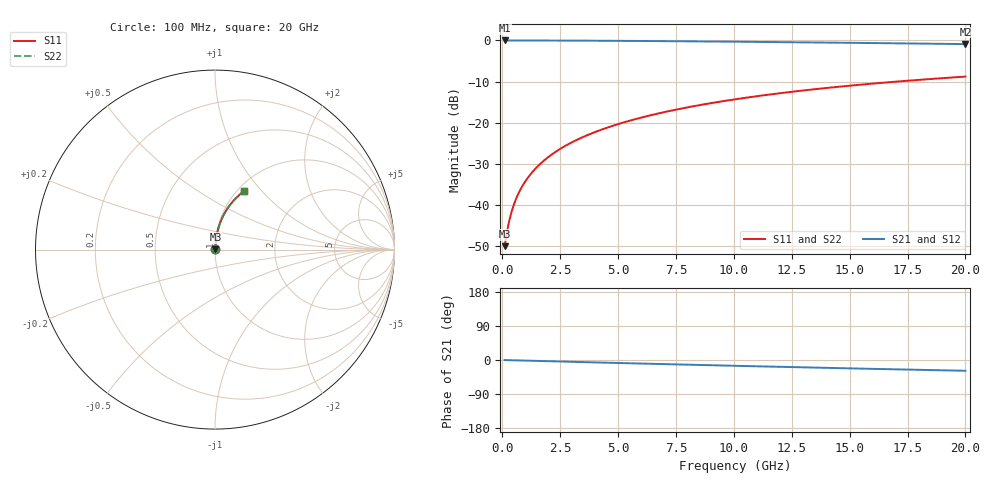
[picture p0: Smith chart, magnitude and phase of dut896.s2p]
! Touchstone file exported from HFSS 2024.1.0
!  File:  C:/UserFiles/LocalFiles/RDL_TSV_Batchsim/temp_RDL_bottom_896_1779866145.aedt
!  Generated:  03:18:42 PM May 27, 2026
!  Design:  RDL_bottom
!  Project:  temp_RDL_bottom_896_1779866145
!  Setup:  Setup1
!  Solution:  Sweep
! Variables:
!  dtsv = 10.80580581um
!  hbump = 3um
!  htsv = 65.36um
!  ldown = 306.92um
!  lrdl = 100um
!  p = 40
!  p1 = 58.77um
!  rhole = 1um
!  t = 450um
!  tdown = 3.58um
!  trdl = 3.915915916um
!  wdown = 13.02um
!  wrdl = 20um
# GHz S MA R 50.000000
! Terminal data exported
! Port[1] = RDL1_T1
! Port[2] = RDL1_T2
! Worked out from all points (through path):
!   200 points, 100 MHz to 20 GHz, reference 50 ohm
!   highest |S21| = -0.02 dB at 100 MHz (marker M1); lowest = -0.9 dB at 20 GHz (marker M2)
!   group delay of S21, straight-line fit = 3.94 ps
!   lowest |S11| = -50.0 dB at 100 MHz (marker M3), VSWR 1.01, Z = 50.2 + j0.198 ohm
!   |S11| at or under -10 dB: start of sweep to 17.07 GHz
!   |S22| runs from -50.0 to -8.8 dB; largest |S21 - S12| = 4.3e-15
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0.1  0.003158 38.7  0.9975 -0.2  0.9975 -0.2  0.003158 38.7
! Gamma 0 0 0 0
! Port Impedance 50 0 50 0
0.2  0.004668 57.5  0.9975 -0.3  0.9975 -0.3  0.004668 57.5
0.3  0.006419 66.4  0.9974 -0.5  0.9974 -0.5  0.006419 66.4
0.4  0.008245 71.3  0.9973 -0.7  0.9973 -0.7  0.008245 71.3
0.5  0.0101 74.4  0.9973 -0.8  0.9973 -0.8  0.0101 74.4
0.6  0.01196 76.5  0.9972 -1.0  0.9972 -1.0  0.01196 76.5
0.8  0.01571 79.2  0.997 -1.3  0.997 -1.3  0.01571 79.2
1.1  0.02137 81.3  0.9967 -1.8  0.9967 -1.8  0.02137 81.3
1.5  0.02896 82.8  0.9962 -2.4  0.9962 -2.4  0.02896 82.8
1.8  0.03467 83.3  0.9958 -2.9  0.9958 -2.9  0.03467 83.3
2.1  0.04039 83.6  0.9953 -3.4  0.9953 -3.4  0.04039 83.6
2.7  0.05186 83.7  0.9941 -4.3  0.9941 -4.3  0.05186 83.7
3.5  0.06719 83.5  0.992 -5.6  0.992 -5.6  0.06719 83.5
4.2  0.08064 83.0  0.9899 -6.7  0.9899 -6.7  0.08064 83.0
5  0.09602 82.3  0.9872 -7.9  0.9872 -7.9  0.09602 82.3
5.9  0.1133 81.4  0.9837 -9.3  0.9837 -9.3  0.1133 81.4
6.8  0.1306 80.4  0.9798 -10.6  0.9798 -10.6  0.1306 80.4
8.3  0.1592 78.7  0.9727 -12.8  0.9727 -12.8  0.1592 78.7
10.1  0.1932 76.4  0.9633 -15.4  0.9633 -15.4  0.1932 76.4
13.4  0.2534 72.1  0.9443 -19.9  0.9443 -19.9  0.2534 72.1
16.7  0.3102 67.8  0.9233 -24.3  0.9233 -24.3  0.3102 67.8
20  0.3629 63.6  0.9009 -28.5  0.9009 -28.5  0.3629 63.6
